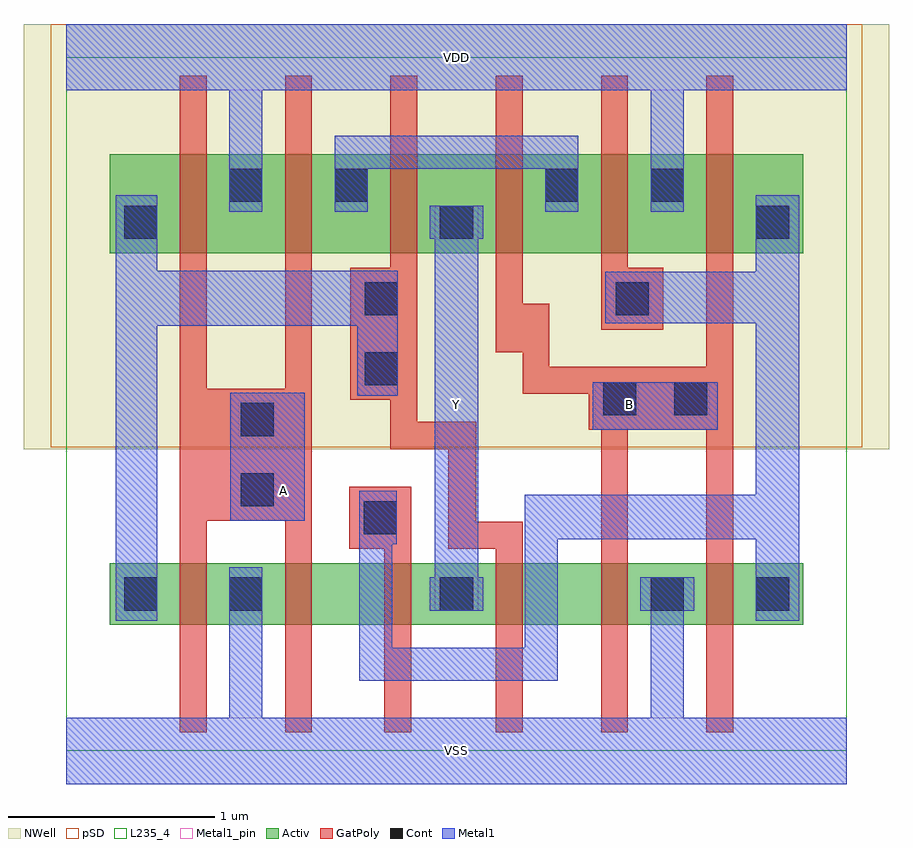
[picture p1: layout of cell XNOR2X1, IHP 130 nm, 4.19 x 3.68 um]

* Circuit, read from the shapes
.subckt XNOR2X1 A B VDD VSS Y
XM1 VSS A n1 VSUBS sg13_lv_nmos w=0.3u l=0.13u
XM2 n2 A VSS VSUBS sg13_lv_nmos w=0.3u l=0.13u
XM3 Y n3 n2 VSUBS sg13_lv_nmos w=0.3u l=0.13u
XM4 n4 n1 Y VSUBS sg13_lv_nmos w=0.3u l=0.13u
XM5 VSS B n4 VSUBS sg13_lv_nmos w=0.3u l=0.13u
XM6 n3 B VSS VSUBS sg13_lv_nmos w=0.3u l=0.13u
XM7 VDD A n1 n5 sg13_lv_pmos w=0.48u l=0.13u
XM8 n6 A VDD n5 sg13_lv_pmos w=0.48u l=0.13u
XM9 Y n1 n6 n5 sg13_lv_pmos w=0.48u l=0.13u
XM10 n6 B Y n5 sg13_lv_pmos w=0.48u l=0.13u
XM11 VDD n3 n6 n5 sg13_lv_pmos w=0.48u l=0.13u
XM12 n3 B VDD n5 sg13_lv_pmos w=0.48u l=0.13u
.ends

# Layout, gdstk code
import gdstk
lib = gdstk.Library(unit=1e-6, precision=1e-09)
def R(c, l, rs):  # rectangles x0, y0, x1, y1
    for r in rs: c.add(gdstk.rectangle(r[:2], r[2:], *l))
def A(c, l, x, y, w, h, nx, ny, dx, dy):  # array of equal rectangles
    R(c, l, [(x+i*dx, y+j*dy, x+i*dx+w, y+j*dy+h) for i in range(nx) for j in range(ny)])
def P(c, l, *ps):  # polygons
    for p in ps: c.add(gdstk.Polygon(p, *l))
Activ = (1, 0)
GatPoly = (5, 0)
Cont = (6, 0)
Metal1 = (8, 0)
Metal1_pin = (8, 2)
pSD = (14, 0)
NWell = (31, 0)
L235_4 = (235, 4)

xnor2x1 = lib.new_cell('XNOR2X1')
R(xnor2x1, Activ, [(0.21,0.61,3.57,0.91), (0.21,2.41,3.57,2.89)])
P(xnor2x1, GatPoly, [(1.19,3.27),(1.06,3.27),(1.06,1.755),(0.68,1.755),(0.68,3.27),(0.55,3.27),(0.55,0.09),(0.68,0.09),(0.68,1.115),(1.06,1.115),(1.06,0.09),(1.19,0.09)],
  [(3.23,3.27),(3.1,3.27),(3.1,1.86),(2.34,1.86),(2.34,2.165),(2.21,2.165),(2.21,3.27),(2.08,3.27),(2.08,1.93),(2.21,1.93),(2.21,1.73),(2.53,1.73),(2.53,1.555),(2.59,1.555),(2.59,0.09),(2.72,0.09),(2.72,1.555),(3.1,1.555),(3.1,0.09),(3.23,0.09)],
  [(2.89,2.34),(2.72,2.34),(2.72,3.27),(2.59,3.27),(2.59,2.04),(2.89,2.04)],
  [(2.21,1.11),(1.985,1.11),(1.985,1.595),(1.7,1.595),(1.7,3.27),(1.57,3.27),(1.57,2.34),(1.375,2.34),(1.375,1.7),(1.57,1.7),(1.57,1.46),(1.85,1.46),(1.85,0.98),(2.08,0.98),(2.08,0.09),(2.21,0.09)],
  [(1.67,1.28),(1.37,1.28),(1.37,0.98),(1.54,0.98),(1.54,0.09),(1.67,0.09)])
A(xnor2x1, Cont, 0.79, 0.68, 0.16, 0.16, 3, 1, 1.02, 0)
A(xnor2x1, Cont, 0.28, 2.48, 0.16, 0.16, 3, 1, 1.53, 0)
R(xnor2x1, Cont, [(0.28,0.68,0.44,0.84), (3.34,0.68,3.5,0.84), (1.44,1.05,1.6,1.21), (0.845,1.185,1.005,1.345), (0.845,1.525,1.005,1.685), (2.6,1.625,2.76,1.785), (2.945,1.625,3.105,1.785), (1.445,1.77,1.605,1.93), (1.445,2.11,1.605,2.27), (2.66,2.11,2.82,2.27), (0.79,2.66,0.95,2.82), (1.3,2.66,1.46,2.82), (2.32,2.66,2.48,2.82), (2.83,2.66,2.99,2.82)])
R(xnor2x1, Metal1, [(0.795,1.115,1.155,1.735), (2.55,1.555,3.155,1.785)])
P(xnor2x1, Metal1, [(2.02,0.84),(1.995,0.84),(1.995,2.48),(2.02,2.48),(2.02,2.64),(1.76,2.64),(1.76,2.48),(1.785,2.48),(1.785,0.84),(1.76,0.84),(1.76,0.68),(2.02,0.68)],
  [(3.78,3.52),(0,3.52),(0,3.2),(0.79,3.2),(0.79,2.61),(0.95,2.61),(0.95,3.2),(2.83,3.2),(2.83,2.61),(2.99,2.61),(2.99,3.2),(3.78,3.2)],
  [(3.78,0.16),(2.99,0.16),(2.99,0.68),(3.04,0.68),(3.04,0.84),(2.78,0.84),(2.78,0.68),(2.83,0.68),(2.83,0.16),(0.95,0.16),(0.95,0.89),(0.79,0.89),(0.79,0.16),(0,0.16),(0,-0.16),(3.78,-0.16)],
  [(3.55,2.69),(3.34,2.69),(3.34,2.32),(2.61,2.32),(2.61,2.07),(3.34,2.07),(3.34,1.24),(2.22,1.24),(2.22,0.5),(1.58,0.5),(1.58,1),(1.6,1),(1.6,1.26),(1.42,1.26),(1.42,0.34),(2.38,0.34),(2.38,1.025),(3.34,1.025),(3.34,0.63),(3.55,0.63)],
  [(2.48,2.98),(1.3,2.98),(1.3,2.61),(1.46,2.61),(1.46,2.82),(2.32,2.82),(2.32,2.61),(2.48,2.61)],
  [(1.605,2.325),(0.44,2.325),(0.44,2.69),(0.24,2.69),(0.24,0.63),(0.44,0.63),(0.44,2.06),(1.41,2.06),(1.41,1.72),(1.605,1.72)])
R(xnor2x1, Metal1_pin, [(0,-0.16,3.78,0.16), (1.785,0.68,1.995,2.64), (1.785,0.68,1.995,2.64), (0.795,1.115,1.155,1.735), (2.55,1.555,3.155,1.785), (0,3.2,3.78,3.52), (0,3.2,3.78,3.52)])
R(xnor2x1, pSD, [(-0.075,1.47,3.855,3.52)])
R(xnor2x1, NWell, [(-0.205,1.46,3.985,3.52)])
R(xnor2x1, L235_4, [(0,0,3.78,3.36)])
xnor2x1.add(gdstk.Label('A', (1.05,1.26), layer=8, texttype=25))
xnor2x1.add(gdstk.Label('Y', (1.89,1.68), layer=8, texttype=25))
xnor2x1.add(gdstk.Label('VDD', (1.89,3.36), layer=8, texttype=25))
xnor2x1.add(gdstk.Label('B', (2.73,1.68), layer=8, texttype=25))
xnor2x1.add(gdstk.Label('VSS', (1.89,0), layer=8, texttype=25))

lib.write_gds('XNOR2X1.gds')
